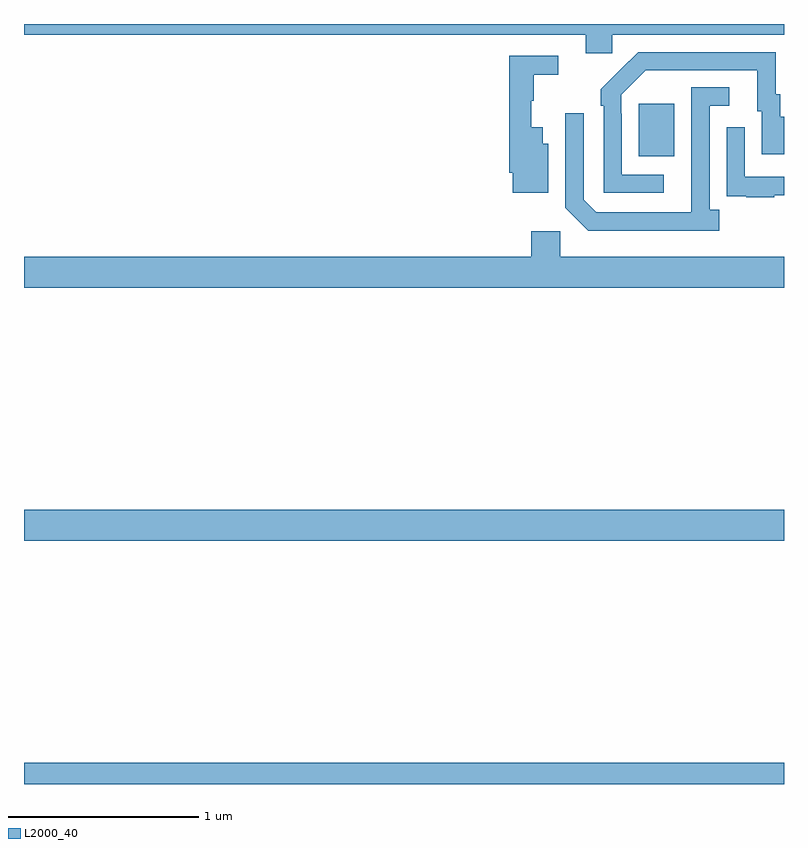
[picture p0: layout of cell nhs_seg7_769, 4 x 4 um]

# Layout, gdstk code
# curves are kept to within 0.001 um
import gdstk
lib = gdstk.Library(unit=1e-6, precision=1e-09)
def R(c, l, rs):  # rectangles x0, y0, x1, y1
    for r in rs: c.add(gdstk.rectangle(r[:2], r[2:], *l))
def P(c, l, *ps):  # polygons
    for p in ps: c.add(gdstk.Polygon(p, *l))
L2000_40 = (2000, 40)

nhs_seg7_769 = lib.new_cell('nhs_seg7_769')
R(nhs_seg7_769, L2000_40, [(169,1002,173,1002.112), (169,1003.28,173,1003.444), (172.235,1005.305,172.423,1005.58)])
P(nhs_seg7_769, L2000_40, [(172.095,1005.944),(173,1005.944),(173,1006),(169,1006),(169,1005.944),(171.956,1005.944),(171.956,1005.846),(172.095,1005.846)],
  [(172.366,1005.207),(172.146,1005.207),(172.146,1005.527),(172.143,1005.527),(172.143,1005.627),(172.272,1005.756),(172.859,1005.756),(172.859,1005.54),(172.883,1005.54),(172.883,1005.315),(173,1005.315),(173,1005.511),(172.981,1005.511),(172.981,1005.63),(172.956,1005.63),(172.956,1005.852),(172.232,1005.852),(172.035,1005.657),(172.035,1005.569),(172.05,1005.569),(172.05,1005.111),(172.366,1005.111)],
  [(171.76,1005.37),(171.73,1005.37),(171.73,1005.457),(171.671,1005.457),(171.671,1005.597),(171.682,1005.597),(171.682,1005.733),(171.811,1005.733),(171.811,1005.834),(171.553,1005.834),(171.553,1005.217),(171.572,1005.217),(171.572,1005.113),(171.76,1005.113)],
  [(172.66,1005.022),(172.608,1005.022),(172.608,1005.57),(172.711,1005.57),(172.711,1005.666),(172.512,1005.666),(172.511,1005.009),(172.011,1005.009),(171.945,1005.075),(171.945,1005.529),(171.849,1005.529),(171.849,1005.033),(171.97,1004.912),(172.66,1004.912)],
  [(172.949,1005.099),(173,1005.099),(173,1005.195),(172.794,1005.195),(172.794,1005.457),(172.698,1005.457),(172.698,1005.202),(172.699,1005.202),(172.699,1005.093),(172.801,1005.093),(172.801,1005.087),(172.949,1005.087)],
  [(173,1004.776),(171.822,1004.776),(171.822,1004.908),(171.671,1004.908),(171.671,1004.776),(169,1004.776),(169,1004.612),(173,1004.612)])

lib.write_gds('nhs_seg7_769.gds')
